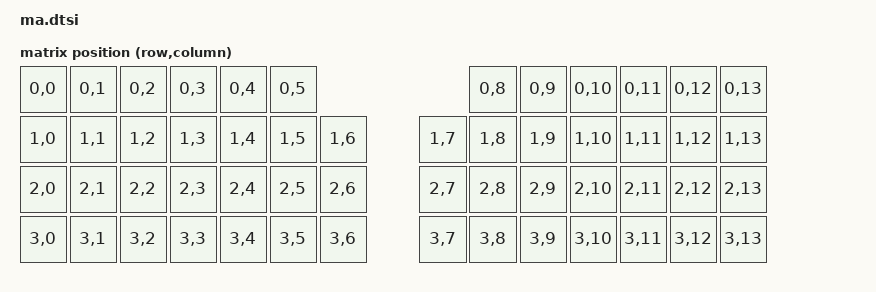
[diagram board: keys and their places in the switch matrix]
#include <dt-bindings/zmk/matrix_transform.h>

/ {
    kscan0: kscan0 {
        compatible = "zmk,kscan-gpio-matrix";
        diode-direction = "col2row";
        wakeup-source;

            ;

    };
};

/ {
    default_transform: keymap_transform0 {
        compatible = "zmk,matrix-transform";
        columns = <14>;
        rows = <4>;
        map = <
   //  LKey 1 |LKey 2 |LKey 3 |LKey 4 |LKey 5 |LKey 6                              |RKey 7 |RKey 8 |RKey 9  |RKey 10 |RKey 11 |RKey 12
       RC(0,0) RC(0,1) RC(0,2) RC(0,3) RC(0,4) RC(0,5)                             RC(0,8) RC(0,9) RC(0,10) RC(0,11) RC(0,12) RC(0,13)
   //  LKey 13 |LKey 14 |LKey 15 |LKey 16 |LKey 17 |LKey 18 |LKey 19       RKey 20 |RKey 21 |RKey 22 |RKey 23 |RKey 24 |RKey 25 |RKey 26
       RC(1,0) RC(1,1) RC(1,2) RC(1,3) RC(1,4) RC(1,5) RC(1,6)             RC(1,7) RC(1,8) RC(1,9) RC(1,10) RC(1,11) RC(1,12) RC(1,13)
   //  LKey 27 |LKey 28 |LKey 29 |LKey 30 |LKey 31 |LKey 32 |LKey 33       RKey 34 |RKey 35 |RKey 36 |RKey 37 |RKey 38 |RKey 39 |RKey 40
       RC(2,0) RC(2,1) RC(2,2) RC(2,3) RC(2,4) RC(2,5) RC(2,6)             RC(2,7) RC(2,8) RC(2,9) RC(2,10) RC(2,11) RC(2,12) RC(2,13)
   //  LKey 41 |LKey 42 |LKey 43 |LKey 44 |LKey 45 |LKey 46 |LKey 47       LKey 48 |RKey 49 |RKey 50 |RKey 51 |RKey 52 |RKey 53 |RKey 54
       RC(3,0) RC(3,1) RC(3,2) RC(3,3) RC(3,4) RC(3,5) RC(3,6)             RC(3,7) RC(3,8) RC(3,9) RC(3,10) RC(3,11) RC(3,12) RC(3,13)
        >;
    };
};
/ {
    physical_layout0: physical_layout_0 { // First physical layout, use different naming for other layouts
        compatible = "zmk,physical-layout";
        display-name = "Default Layout";
        kscan = <&kscan0>; // Label of the kscan node, optional if all layouts use the same
        transform = <&default_transform>; // Label of the matrix transform for this layout
    };
};
/ {
    chosen {
        zmk,physical-layout = &physical_layout0;   
    };
};
